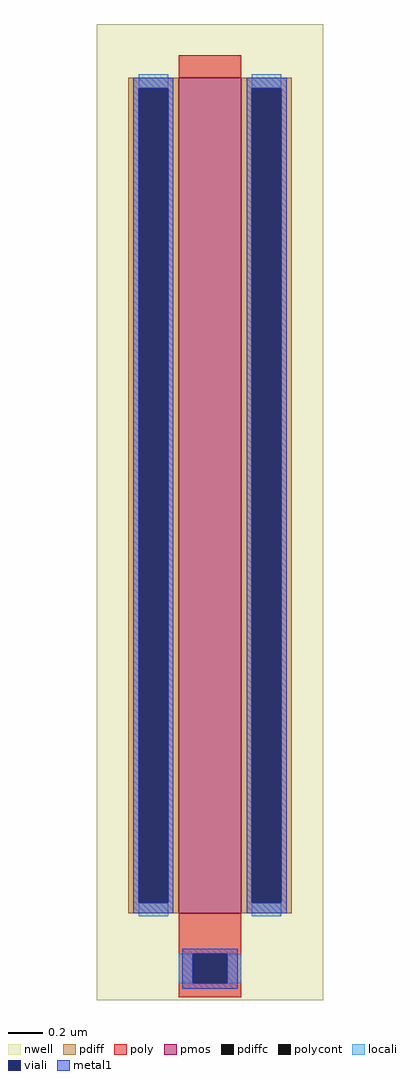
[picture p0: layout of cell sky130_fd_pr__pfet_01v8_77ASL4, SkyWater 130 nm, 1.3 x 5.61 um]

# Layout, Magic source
magic
tech sky130A
magscale 1 2
<< nwell >>
rect -130 -544 130 578
<< pmos >>
rect -36 -444 36 516
<< pdiff >>
rect -94 504 -36 516
rect -94 -432 -82 504
rect -48 -432 -36 504
rect -94 -444 -36 -432
rect 36 504 94 516
rect 36 -432 48 504
rect 82 -432 94 504
rect 36 -444 94 -432
<< pdiffc >>
rect -82 -432 -48 504
rect 48 -432 82 504
<< poly >>
rect -36 516 36 542
rect -36 -491 36 -444
rect -36 -525 -20 -491
rect 20 -525 36 -491
rect -36 -541 36 -525
<< polycont >>
rect -20 -525 20 -491
<< locali >>
rect -82 504 -48 520
rect -82 -448 -48 -432
rect 48 504 82 520
rect 48 -448 82 -432
rect -36 -525 -20 -491
rect 20 -525 36 -491
<< viali >>
rect -82 -432 -48 504
rect 48 -432 82 504
rect -20 -525 20 -491
<< metal1 >>
rect -88 504 -42 516
rect -88 -432 -82 504
rect -48 -432 -42 504
rect -88 -444 -42 -432
rect 42 504 88 516
rect 42 -432 48 504
rect 82 -432 88 504
rect 42 -444 88 -432
rect -32 -491 32 -485
rect -32 -525 -20 -491
rect 20 -525 32 -491
rect -32 -531 32 -525
<< properties >>
string gencell sky130_fd_pr__pfet_01v8
string library sky130
string parameters w 4.8 l 0.36 m 1 nf 1 diffcov 100 polycov 100 guard 0 glc 1 grc 1 gtc 1 gbc 1 tbcov 100 rlcov 100 topc 0 botc 1 poverlap 0 doverlap 1 lmin 0.15 wmin 0.42 compatible {sky130_fd_pr__pfet_01v8  sky130_fd_pr__pfet_01v8_lvt sky130_fd_pr__pfet_01v8_hvt  sky130_fd_pr__pfet_g5v0d10v5} full_metal 1 viasrc 100 viadrn 100 viagate 100 viagb 0 viagr 0 viagl 0 viagt 0
<< end >>
